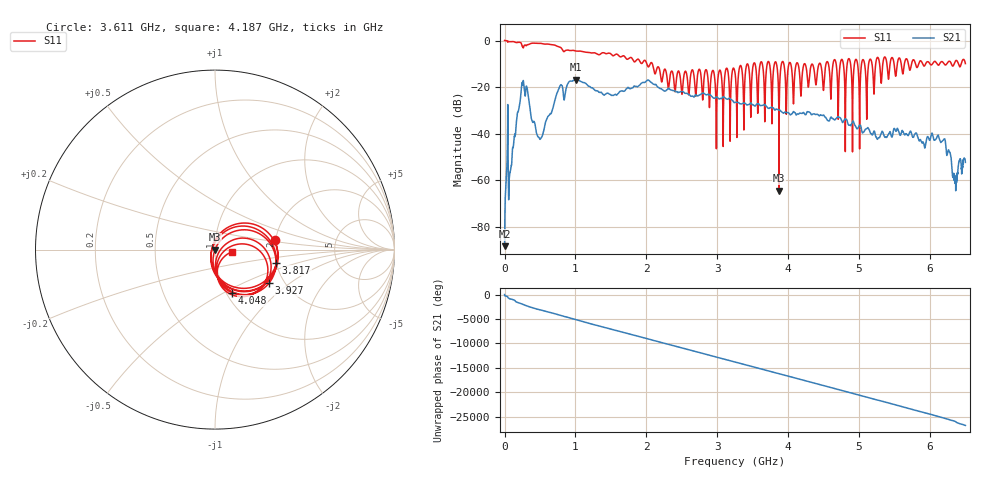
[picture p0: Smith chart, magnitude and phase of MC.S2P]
!Keysight Technologies,E5063A,MY54503115,A.05.08
!Date: Tue Mar 05 14:32:56 2024
!Data & Calibration Information:
!Freq	S11:NONE(--)	S21:NONE(--)	S12:NONE(--)	S22:NONE(--)
# Hz S dB R 50
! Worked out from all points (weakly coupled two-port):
!   10001 points, 100 kHz to 6.5 GHz, reference 50 ohm
!   highest |S21| = -16.79 dB at 1.004 GHz (marker M1); lowest = -88.2 dB at 100 kHz (marker M2)
!   lowest |S11| = -64.4 dB at 3.871 GHz (marker M3), VSWR 1.00, Z = 50 - j0.0589 ohm
!   |S11| at or under -10 dB: 2.084 GHz to 3.423 GHz (1.339 GHz wide, 48.6 % of centre); 4.138 GHz to 4.226 GHz (87.84 MHz wide, 2.1 % of centre); 4.237 GHz to 4.436 GHz (199 MHz wide, 4.59 % of centre) (the widest 3 of 31)
!   S12 and S22 are empty: the file has one direction only
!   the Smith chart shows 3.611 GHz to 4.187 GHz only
!   S11 on the Smith chart (normalised r, x): 3.611 GHz: 1.98, +0.23; 3.817 GHz: 2.00, -0.33; 3.927 GHz: 1.67, -0.71; 4.048 GHz: 1.06, -0.55; 4.187 GHz: 1.20, -0.03
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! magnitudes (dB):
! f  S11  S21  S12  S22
! 100 kHz  0.0  -88.2  -  -
! 39.1 MHz  -0.2  -45.0  -  -
! 84.6 MHz  -0.5  -55.5  -  -
! 252.3 MHz  -2.5  -19.1  -  -
! 499.3 MHz  -1.2  -42.4  -  -
! 774.2 MHz  -2.7  -19.9  -  -
! 1.004 GHz  -4.5  -16.8  -  -
! 1.084 GHz  -4.6  -17.7  -  -
! 2.167 GHz  -11.3  -20.1  -  -
! 3.25 GHz  -13.8  -26.5  -  -
! 3.611 GHz  -9.5  -27.9  -  -
! 3.772 GHz  -34.5  -28.7  -  -
! 3.817 GHz  -9.2  -29.8  -  -
! 3.871 GHz  -64.4  -29.9  -  -
! 3.927 GHz  -9.0  -31.0  -  -
! 4.048 GHz  -11.7  -31.5  -  -
! 4.187 GHz  -20.5  -31.3  -  -
! 4.334 GHz  -10.1  -31.8  -  -
! 5.417 GHz  -16.4  -40.2  -  -
! 6.191 GHz  -9.6  -42.7  -  -
! 6.35 GHz  -9.4  -59.1  -  -
! 6.5 GHz  -9.9  -52.3  -  -
